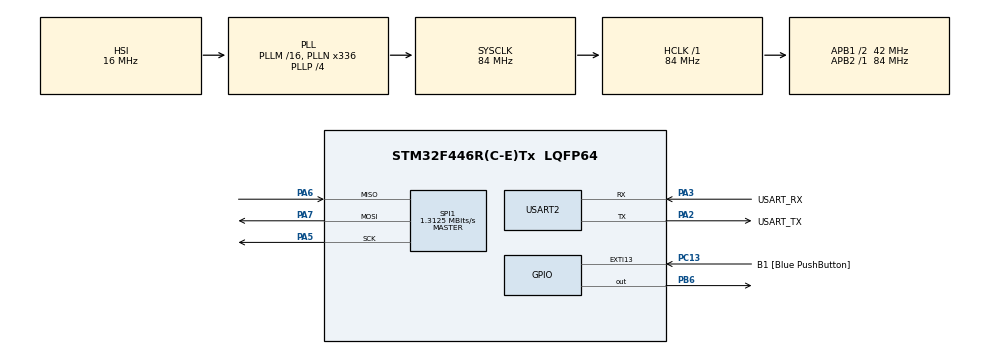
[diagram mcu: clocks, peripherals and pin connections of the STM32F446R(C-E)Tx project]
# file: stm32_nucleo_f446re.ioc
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Mcu.Family=STM32F4
Mcu.Name=STM32F446R(C-E)Tx
Mcu.Package=LQFP64
NVIC.PriorityGroup=NVIC_PRIORITYGROUP_0
PA13.GPIO_Label=TMS
PA13.Mode=Serial_Wire
PA13.Signal=SYS_JTMS-SWDIO
PA14.GPIO_Label=TCK
PA14.Mode=Serial_Wire
PA14.Signal=SYS_JTCK-SWCLK
PA2.GPIO_Label=USART_TX
PA2.Mode=Asynchronous
PA2.Signal=USART2_TX
PA3.GPIO_Label=USART_RX
PA3.Mode=Asynchronous
PA3.Signal=USART2_RX
PA5.Mode=Full_Duplex_Master
PA5.Signal=SPI1_SCK
PA6.Mode=Full_Duplex_Master
PA6.Signal=SPI1_MISO
PA7.Mode=Full_Duplex_Master
PA7.Signal=SPI1_MOSI
PB3.GPIO_Label=SWO
PB3.Signal=SYS_JTDO-SWO
PB6.Signal=GPIO_Output
PC13.GPIO_Label=B1 [Blue PushButton]
PC13.GPIO_ModeDefaultEXTI=GPIO_MODE_IT_FALLING
PC13.Signal=GPXTI13
PC14-OSC32_IN.Mode=LSE-External-Oscillator
PC14-OSC32_IN.Signal=RCC_OSC32_IN
PC15-OSC32_OUT.Mode=LSE-External-Oscillator
PC15-OSC32_OUT.Signal=RCC_OSC32_OUT
PH0-OSC_IN.Mode=HSE-External-Oscillator
PH0-OSC_IN.Signal=RCC_OSC_IN
PH1-OSC_OUT.Mode=HSE-External-Oscillator
PH1-OSC_OUT.Signal=RCC_OSC_OUT
ProjectManager.HeapSize=0x200
ProjectManager.StackSize=0x400
ProjectManager.TargetToolchain=STM32CubeIDE
RCC.48MHZClocksFreq_Value=84000000
RCC.AHBFreq_Value=84000000
RCC.APB1CLKDivider=RCC_HCLK_DIV2
RCC.APB1Freq_Value=42000000
RCC.APB1TimFreq_Value=84000000
RCC.APB2Freq_Value=84000000
RCC.APB2TimFreq_Value=84000000
RCC.CortexFreq_Value=84000000
RCC.FLatency-AdvancedSettings=FLASH_LATENCY_2
RCC.HCLKFreq_Value=84000000
RCC.HSE_VALUE=8000000
RCC.HSI_VALUE=16000000
RCC.PLLN=336
RCC.PLLP=RCC_PLLP_DIV4
RCC.SYSCLKFreq_VALUE=84000000
RCC.SYSCLKSource=RCC_SYSCLKSOURCE_PLLCLK
RCC.USBFreq_Value=168000000
RCC.VCOOutputFreq_Value=336000000
SPI1.BaudRatePrescaler=SPI_BAUDRATEPRESCALER_64
SPI1.CalculateBaudRate=1.3125 MBits/s
SPI1.DataSize=SPI_DATASIZE_16BIT
SPI1.Direction=SPI_DIRECTION_2LINES
SPI1.Mode=SPI_MODE_MASTER
SPI1.VirtualType=VM_MASTER
USART2.VirtualMode=VM_ASYNC
board=NUCLEO-F446RE

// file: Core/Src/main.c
/* USER CODE BEGIN Header */
/**
  ******************************************************************************
  * @file           : main.c
  * @brief          : Main program body
  ******************************************************************************
  * @attention
  *
  * <h2><center>&copy; Copyright (c) 2021 STMicroelectronics.
  * All rights reserved.</center></h2>
  *
  * This software component is licensed by ST under BSD 3-Clause license,
  * the "License"; You may not use this file except in compliance with the
  * License. You may obtain a copy of the License at:
  *                        opensource.org/licenses/BSD-3-Clause
  *
  ******************************************************************************
  */
/* USER CODE END Header */
#include "main.h"

/* USER CODE BEGIN Includes */
#include <stdio.h>
/* USER CODE END Includes */

SPI_HandleTypeDef hspi1;

UART_HandleTypeDef huart2;

/* USER CODE BEGIN PV */
#define OP_READ  0x4000
#define PARITY_EVEN 0x0000
#define PARITY_ODD  0x8000
#define ADDR_NOP 0x0000
#define ADDR_ERRFL 0x0001
#define ADDR_ANGLECOM     0x3FFF
#define CMD_R_ANGLECOM  (PARITY_ODD  | OP_READ | ADDR_ANGLECOM)
#define CMD_R_NOP       (PARITY_ODD  | OP_READ | ADDR_NOP)
#define CMD_R_ERRFL     (PARITY_EVEN | OP_READ | ADDR_ERRFL)
#define csPin 10 // pin 9 is used for selecting the first encoder
/* USER CODE END PV */

void SystemClock_Config(void);
static void MX_GPIO_Init(void);
static void MX_USART2_UART_Init(void);
static void MX_SPI1_Init(void);

int main(void)
{
  /* USER CODE BEGIN 1 */
	char uart_buf[50];
	int uart_buf_len;
	char spi_buf[20];
  /* USER CODE END 1 */

  /* MCU Configuration--------------------------------------------------------*/

  /* Reset of all peripherals, Initializes the Flash interface and the Systick. */
  HAL_Init();

  /* Configure the system clock */
  SystemClock_Config();

  /* Initialize all configured peripherals */
  MX_GPIO_Init();
  MX_USART2_UART_Init();
  MX_SPI1_Init();
  /* USER CODE BEGIN 2 */

  /*
   *  begin spi
   *  pinMode(csPin, OUTPUT);
   *  digitalWrite(csPin, HIGH);
   */
  HAL_GPIO_WritePin(GPIOB, GPIO_PIN_6, GPIO_PIN_SET);

  //test uart
  uart_buf_len = sprintf(uart_buf, "SPI test\r\n");
  HAL_UART_Transmit(&huart2, (uint8_t*)uart_buf, uart_buf_len, 100);

  /*
   *  check
   *  send data
   *  digitalWrite(csPin, LOW);
   *  x = SPI.transfer16(0x0001);
   *  digitalWrite(csPin, HIGH);
   *  Serial.println(x); // 0
   */
  HAL_GPIO_WritePin(GPIOB, GPIO_PIN_6, GPIO_PIN_RESET);
  HAL_SPI_Transmit(&hspi1, (uint8_t*)ADDR_ERRFL, 2, 100);
  HAL_SPI_Receive(&hspi1, (uint8_t*)spi_buf, 2, 100);
  HAL_GPIO_WritePin(GPIOB, GPIO_PIN_6, GPIO_PIN_SET);

  uart_buf_len = sprintf(uart_buf, "0x%X\r\n", (unsigned int)spi_buf[0]);
  HAL_UART_Transmit(&huart2, (uint8_t*)uart_buf, uart_buf_len, 100);

  /* USER CODE END 2 */

  /* Infinite loop */
  while (1)
  {

  }
}

void SystemClock_Config(void)
{
  RCC_OscInitTypeDef RCC_OscInitStruct = {0};
  RCC_ClkInitTypeDef RCC_ClkInitStruct = {0};

  /** Configure the main internal regulator output voltage
  */
  __HAL_RCC_PWR_CLK_ENABLE();
  __HAL_PWR_VOLTAGESCALING_CONFIG(PWR_REGULATOR_VOLTAGE_SCALE3);
  /** Initializes the RCC Oscillators according to the specified parameters
  * in the RCC_OscInitTypeDef structure.
  */
  RCC_OscInitStruct.OscillatorType = RCC_OSCILLATORTYPE_HSI;
  RCC_OscInitStruct.HSIState = RCC_HSI_ON;
  RCC_OscInitStruct.HSICalibrationValue = RCC_HSICALIBRATION_DEFAULT;
  RCC_OscInitStruct.PLL.PLLState = RCC_PLL_ON;
  RCC_OscInitStruct.PLL.PLLSource = RCC_PLLSOURCE_HSI;
  RCC_OscInitStruct.PLL.PLLM = 16;
  RCC_OscInitStruct.PLL.PLLN = 336;
  RCC_OscInitStruct.PLL.PLLP = RCC_PLLP_DIV4;
  RCC_OscInitStruct.PLL.PLLQ = 2;
  RCC_OscInitStruct.PLL.PLLR = 2;
  if (HAL_RCC_OscConfig(&RCC_OscInitStruct) != HAL_OK)
  {
    Error_Handler();
  }
  /** Initializes the CPU, AHB and APB buses clocks
  */
  RCC_ClkInitStruct.ClockType = RCC_CLOCKTYPE_HCLK|RCC_CLOCKTYPE_SYSCLK
                              |RCC_CLOCKTYPE_PCLK1|RCC_CLOCKTYPE_PCLK2;
  RCC_ClkInitStruct.SYSCLKSource = RCC_SYSCLKSOURCE_PLLCLK;
  RCC_ClkInitStruct.AHBCLKDivider = RCC_SYSCLK_DIV1;
  RCC_ClkInitStruct.APB1CLKDivider = RCC_HCLK_DIV2;
  RCC_ClkInitStruct.APB2CLKDivider = RCC_HCLK_DIV1;

  if (HAL_RCC_ClockConfig(&RCC_ClkInitStruct, FLASH_LATENCY_2) != HAL_OK)
  {
    Error_Handler();
  }
}

static void MX_SPI1_Init(void)
{

  /* SPI1 parameter configuration*/
  hspi1.Instance = SPI1;
  hspi1.Init.Mode = SPI_MODE_MASTER;
  hspi1.Init.Direction = SPI_DIRECTION_2LINES;
  hspi1.Init.DataSize = SPI_DATASIZE_16BIT;
  hspi1.Init.CLKPolarity = SPI_POLARITY_LOW;
  hspi1.Init.CLKPhase = SPI_PHASE_1EDGE;
  hspi1.Init.NSS = SPI_NSS_SOFT;
  hspi1.Init.BaudRatePrescaler = SPI_BAUDRATEPRESCALER_64;
  hspi1.Init.FirstBit = SPI_FIRSTBIT_MSB;
  hspi1.Init.TIMode = SPI_TIMODE_DISABLE;
  hspi1.Init.CRCCalculation = SPI_CRCCALCULATION_DISABLE;
  hspi1.Init.CRCPolynomial = 10;
  if (HAL_SPI_Init(&hspi1) != HAL_OK)
  {
    Error_Handler();
  }

}

static void MX_USART2_UART_Init(void)
{

  huart2.Instance = USART2;
  huart2.Init.BaudRate = 115200;
  huart2.Init.WordLength = UART_WORDLENGTH_8B;
  huart2.Init.StopBits = UART_STOPBITS_1;
  huart2.Init.Parity = UART_PARITY_NONE;
  huart2.Init.Mode = UART_MODE_TX_RX;
  huart2.Init.HwFlowCtl = UART_HWCONTROL_NONE;
  huart2.Init.OverSampling = UART_OVERSAMPLING_16;
  if (HAL_UART_Init(&huart2) != HAL_OK)
  {
    Error_Handler();
  }

}

static void MX_GPIO_Init(void)
{
  GPIO_InitTypeDef GPIO_InitStruct = {0};

  /* GPIO Ports Clock Enable */
  __HAL_RCC_GPIOC_CLK_ENABLE();
  __HAL_RCC_GPIOH_CLK_ENABLE();
  __HAL_RCC_GPIOA_CLK_ENABLE();
  __HAL_RCC_GPIOB_CLK_ENABLE();

  /*Configure GPIO pin Output Level */
  HAL_GPIO_WritePin(GPIOB, GPIO_PIN_6, GPIO_PIN_RESET);

  /*Configure GPIO pin : B1_Pin */
  GPIO_InitStruct.Pin = B1_Pin;
  GPIO_InitStruct.Mode = GPIO_MODE_IT_FALLING;
  GPIO_InitStruct.Pull = GPIO_NOPULL;
  HAL_GPIO_Init(B1_GPIO_Port, &GPIO_InitStruct);

  /*Configure GPIO pin : PB6 */
  GPIO_InitStruct.Pin = GPIO_PIN_6;
  GPIO_InitStruct.Mode = GPIO_MODE_OUTPUT_PP;
  GPIO_InitStruct.Pull = GPIO_NOPULL;
  GPIO_InitStruct.Speed = GPIO_SPEED_FREQ_LOW;
  HAL_GPIO_Init(GPIOB, &GPIO_InitStruct);

}

void Error_Handler(void)
{
  __disable_irq();
  while (1)
  {
  }
}

/************************ (C) COPYRIGHT STMicroelectronics *****END OF FILE****/
